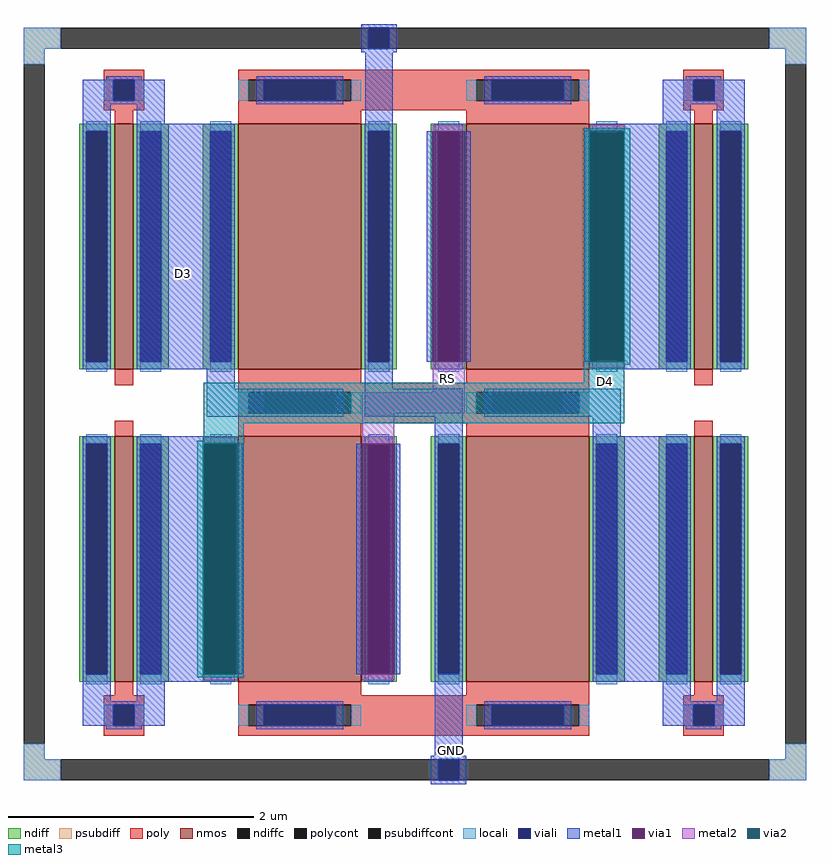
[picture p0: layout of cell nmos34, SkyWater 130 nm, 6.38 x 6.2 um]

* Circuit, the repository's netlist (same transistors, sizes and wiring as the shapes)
** sch_path: /home/akashianse/msib/msib17okt24/opamp/magmag/nmos34/nmos34.sch
.subckt nmos34 RS D3 D4 GND
*.PININFO RS:B D3:B D4:B GND:B
XM3 D3 D3 GND GND sky130_fd_pr__nfet_01v8 L=1 W=2 nf=1 m=2
XM4 D4 D3 RS GND sky130_fd_pr__nfet_01v8 L=1 W=2 nf=1 m=2
XM1 D3 D3 D3 GND sky130_fd_pr__nfet_01v8 L=0.15 W=2 nf=1 m=2
XM2 D4 D4 D4 GND sky130_fd_pr__nfet_01v8 L=0.15 W=2 nf=1 m=2
.ends
.end

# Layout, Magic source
magic
tech sky130A
magscale 1 2
<< psubdiff >>
rect -292 1121 -232 1155
rect 924 1121 984 1155
rect -292 1095 -258 1121
rect 950 1095 984 1121
rect -292 -39 -258 -13
rect 950 -39 984 -13
rect -292 -73 -232 -39
rect 924 -73 984 -39
<< psubdiffcont >>
rect -232 1121 924 1155
rect -292 -13 -258 1095
rect 950 -13 984 1095
rect -232 -73 924 -39
<< poly >>
rect 254 1020 434 1086
rect 254 510 434 576
rect 252 0 436 66
<< locali >>
rect -292 1121 -232 1155
rect 924 1121 984 1155
rect -292 1095 -258 1121
rect -292 -39 -258 -13
rect 950 1095 984 1121
rect 950 -39 984 -13
rect -292 -73 -232 -39
rect 924 -73 984 -39
<< viali >>
rect 270 1121 304 1155
rect 384 -73 418 -39
<< metal1 >>
rect 258 1155 316 1161
rect 258 1121 270 1155
rect 304 1121 316 1155
rect 258 1115 316 1121
rect -196 996 -150 1070
rect -108 998 -62 1070
rect -108 598 52 998
rect 265 988 310 1115
rect 750 998 796 1070
rect 635 987 795 998
rect 838 994 884 1070
rect 365 610 375 986
rect 427 610 437 986
rect 622 610 632 987
rect 685 610 795 987
rect 6 566 52 598
rect 264 566 310 600
rect 635 598 795 610
rect 6 520 94 566
rect 264 520 424 566
rect 588 520 682 566
rect -108 477 52 488
rect 378 485 424 520
rect 636 488 682 520
rect -108 100 2 477
rect 55 100 65 477
rect 250 100 260 476
rect 312 100 322 476
rect -196 16 -150 94
rect -108 88 52 100
rect -108 16 -62 88
rect 378 -33 424 102
rect 636 88 796 488
rect 750 16 796 88
rect 838 16 884 91
rect 372 -39 430 -33
rect 372 -73 384 -39
rect 418 -73 430 -39
rect 372 -79 430 -73
<< via1 >>
rect 375 610 427 986
rect 632 610 685 987
rect 2 100 55 477
rect 260 100 312 476
<< metal2 >>
rect 632 996 685 997
rect 375 986 427 996
rect 375 560 427 610
rect 631 987 687 996
rect 631 986 632 987
rect 685 986 687 987
rect 631 600 687 610
rect 260 526 427 560
rect 2 486 55 487
rect 1 477 57 486
rect 1 476 2 477
rect 55 476 57 477
rect 1 90 57 100
rect 260 476 312 526
rect 260 90 312 100
<< via2 >>
rect 631 610 632 986
rect 632 610 685 986
rect 685 610 687 986
rect 1 100 2 476
rect 2 100 55 476
rect 55 100 57 476
<< metal3 >>
rect 621 986 697 991
rect 621 610 631 986
rect 687 610 697 986
rect 621 605 697 610
rect 621 576 687 605
rect 1 510 687 576
rect 1 481 67 510
rect -9 476 67 481
rect -9 100 1 476
rect 57 100 67 476
rect -9 95 67 100
use sky130_fd_pr__nfet_01v8_CH548F  sky130_fd_pr__nfet_01v8_CH548F_0
transform 1 0 344 0 1 288
box -344 -288 344 288
use sky130_fd_pr__nfet_01v8_CH548F  sky130_fd_pr__nfet_01v8_CH548F_1
transform 1 0 344 0 1 798
box -344 -288 344 288
use sky130_fd_pr__nfet_01v8_SCJFGL  sky130_fd_pr__nfet_01v8_SCJFGL_0
transform 1 0 -129 0 1 257
box -73 -257 73 257
use sky130_fd_pr__nfet_01v8_SCJFGL  sky130_fd_pr__nfet_01v8_SCJFGL_1
transform 1 0 817 0 1 257
box -73 -257 73 257
use sky130_fd_pr__nfet_01v8_TCR5KT  sky130_fd_pr__nfet_01v8_TCR5KT_0
transform 1 0 -129 0 1 829
box -73 -257 73 257
use sky130_fd_pr__nfet_01v8_TCR5KT  sky130_fd_pr__nfet_01v8_TCR5KT_1
transform 1 0 817 0 1 829
box -73 -257 73 257
<< labels >>
flabel metal1 -31 754 -31 754 0 FreeSans 1600 0 0 0 D3
port 0 nsew
flabel metal2 399 583 399 583 0 FreeSans 1600 0 0 0 RS
port 1 nsew
flabel metal3 656 578 656 578 0 FreeSans 1600 0 0 0 D4
port 2 nsew
flabel metal1 405 -24 405 -24 0 FreeSans 1600 0 0 0 GND
port 3 nsew
<< end >>

# cell sky130_fd_pr__nfet_01v8_CH548F: kit device sky130_fd_pr__nfet_01v8, w 2 l 1 m 1 nf 2 diffcov 100 polycov 100 guard 0 glc 1 grc 1 gtc 1 gbc 1 tbcov 100 rlcov 100 topc 1 botc 1 poverlap 1 doverlap 0 lmin 0.15 wmin 0.42 compatible {sky130_fd_pr__nfet_01v8 sky130_fd_pr__nfet_01v8_lvt sky130_fd_bs_flash__special_sonosfet_star sky130_fd_pr__nfet_g5v0d10v5 sky130_fd_pr__nfet_05v0_nvt sky130_fd_pr__nfet_03v3_nvt} full_metal 1 viasrc 100 viadrn 100 viagate 70 viagb 0 viagr 0 viagl 0 viagt 0

# cell sky130_fd_pr__nfet_01v8_SCJFGL: kit device sky130_fd_pr__nfet_01v8, w 2 l 0.150 m 1 nf 1 diffcov 100 polycov 100 guard 0 glc 1 grc 1 gtc 1 gbc 1 tbcov 100 rlcov 100 topc 0 botc 1 poverlap 0 doverlap 1 lmin 0.15 wmin 0.42 compatible {sky130_fd_pr__nfet_01v8 sky130_fd_pr__nfet_01v8_lvt sky130_fd_bs_flash__special_sonosfet_star sky130_fd_pr__nfet_g5v0d10v5 sky130_fd_pr__nfet_05v0_nvt sky130_fd_pr__nfet_03v3_nvt} full_metal 1 viasrc 100 viadrn 100 viagate 100 viagb 0 viagr 0 viagl 0 viagt 0

# cell sky130_fd_pr__nfet_01v8_TCR5KT: kit device sky130_fd_pr__nfet_01v8, w 2 l 0.150 m 1 nf 1 diffcov 100 polycov 100 guard 0 glc 1 grc 1 gtc 1 gbc 1 tbcov 100 rlcov 100 topc 1 botc 0 poverlap 0 doverlap 1 lmin 0.15 wmin 0.42 compatible {sky130_fd_pr__nfet_01v8 sky130_fd_pr__nfet_01v8_lvt sky130_fd_bs_flash__special_sonosfet_star sky130_fd_pr__nfet_g5v0d10v5 sky130_fd_pr__nfet_05v0_nvt sky130_fd_pr__nfet_03v3_nvt} full_metal 1 viasrc 100 viadrn 100 viagate 100 viagb 0 viagr 0 viagl 0 viagt 0
